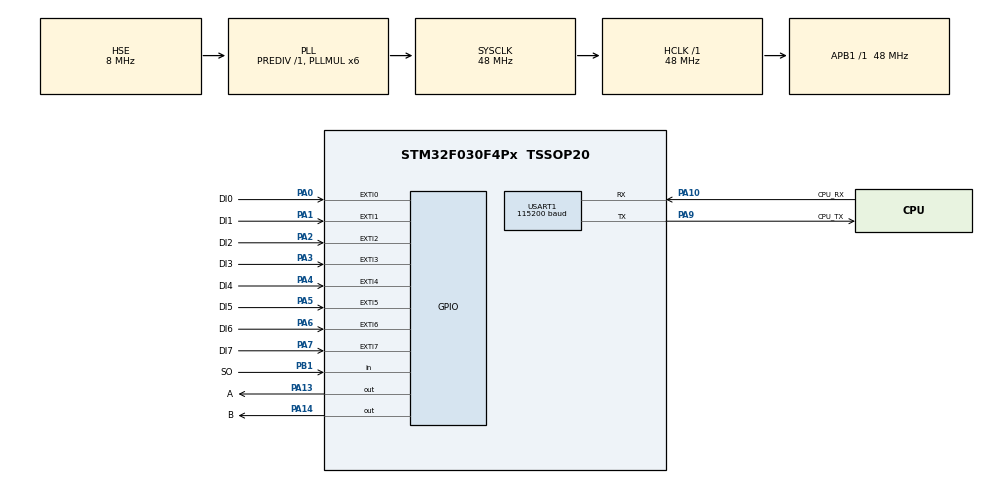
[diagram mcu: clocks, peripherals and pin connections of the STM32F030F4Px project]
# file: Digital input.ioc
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Dma.Request0=USART1_TX
Dma.Request1=USART1_RX
Dma.USART1_RX.1.Direction=DMA_PERIPH_TO_MEMORY
Dma.USART1_RX.1.Instance=DMA1_Channel3
Dma.USART1_RX.1.MemDataAlignment=DMA_MDATAALIGN_BYTE
Dma.USART1_RX.1.MemInc=DMA_MINC_ENABLE
Dma.USART1_RX.1.Mode=DMA_NORMAL
Dma.USART1_RX.1.PeriphDataAlignment=DMA_PDATAALIGN_BYTE
Dma.USART1_RX.1.PeriphInc=DMA_PINC_DISABLE
Dma.USART1_RX.1.Priority=DMA_PRIORITY_HIGH
Dma.USART1_TX.0.Direction=DMA_MEMORY_TO_PERIPH
Dma.USART1_TX.0.Instance=DMA1_Channel2
Dma.USART1_TX.0.MemDataAlignment=DMA_MDATAALIGN_BYTE
Dma.USART1_TX.0.MemInc=DMA_MINC_ENABLE
Dma.USART1_TX.0.Mode=DMA_NORMAL
Dma.USART1_TX.0.PeriphDataAlignment=DMA_PDATAALIGN_BYTE
Dma.USART1_TX.0.PeriphInc=DMA_PINC_DISABLE
Dma.USART1_TX.0.Priority=DMA_PRIORITY_MEDIUM
Mcu.Family=STM32F0
Mcu.Name=STM32F030F4Px
Mcu.Package=TSSOP20
NVIC.DMA1_Channel2_3_IRQn=true\:0\:0\:false\:false\:true\:false\:true\:true
NVIC.EXTI0_1_IRQn=true\:1\:0\:true\:false\:true\:true\:true\:true
NVIC.EXTI2_3_IRQn=true\:1\:0\:true\:false\:true\:true\:true\:true
NVIC.EXTI4_15_IRQn=true\:1\:0\:true\:false\:true\:true\:true\:true
NVIC.TIM1_BRK_UP_TRG_COM_IRQn=true\:0\:0\:false\:false\:true\:true\:true\:true
NVIC.USART1_IRQn=true\:0\:0\:false\:false\:true\:true\:true\:true
PA0.GPIO_Label=DI0
PA0.GPIO_ModeDefaultEXTI=GPIO_MODE_IT_FALLING
PA0.Signal=GPXTI0
PA1.GPIO_Label=DI1
PA1.GPIO_ModeDefaultEXTI=GPIO_MODE_IT_FALLING
PA1.Signal=GPXTI1
PA10.GPIO_FMA10=__NULL
PA10.GPIO_Label=CPU_RX
PA10.GPIO_ModeDefaultOD=GPIO_MODE_AF_PP
PA10.GPIO_PuPdOD=GPIO_NOPULL
PA10.Mode=Multiprocessor_communication
PA10.Signal=USART1_RX
PA13.GPIO_Label=A
PA13.GPIO_PuPd=GPIO_PULLUP
PA13.GPIO_Speed=GPIO_SPEED_FREQ_HIGH
PA13.PinState=GPIO_PIN_SET
PA13.Signal=GPIO_Output
PA14.GPIO_Label=B
PA14.GPIO_PuPd=GPIO_PULLUP
PA14.GPIO_Speed=GPIO_SPEED_FREQ_HIGH
PA14.PinState=GPIO_PIN_SET
PA14.Signal=GPIO_Output
PA2.GPIO_Label=DI2
PA2.GPIO_ModeDefaultEXTI=GPIO_MODE_IT_FALLING
PA2.Signal=GPXTI2
PA3.GPIO_Label=DI3
PA3.GPIO_ModeDefaultEXTI=GPIO_MODE_IT_FALLING
PA3.Signal=GPXTI3
PA4.GPIO_Label=DI4
PA4.GPIO_ModeDefaultEXTI=GPIO_MODE_IT_FALLING
PA4.Signal=GPXTI4
PA5.GPIO_Label=DI5
PA5.GPIO_ModeDefaultEXTI=GPIO_MODE_IT_FALLING
PA5.Signal=GPXTI5
PA6.GPIO_Label=DI6
PA6.GPIO_ModeDefaultEXTI=GPIO_MODE_IT_FALLING
PA6.Signal=GPXTI6
PA7.GPIO_Label=DI7
PA7.GPIO_ModeDefaultEXTI=GPIO_MODE_IT_FALLING
PA7.Signal=GPXTI7
PA9.GPIO_FMA9=__NULL
PA9.GPIO_Label=CPU_TX
PA9.GPIO_ModeDefaultOD=GPIO_MODE_AF_PP
PA9.GPIO_PuPdOD=GPIO_NOPULL
PA9.Mode=Multiprocessor_communication
PA9.Signal=USART1_TX
PB1.GPIO_Label=SO
PB1.GPIO_PuPd=GPIO_PULLUP
PB1.Signal=GPIO_Input
PF0-OSC_IN.Mode=HSE-External-Oscillator
PF0-OSC_IN.Signal=RCC_OSC_IN
PF1-OSC_OUT.Mode=HSE-External-Oscillator
PF1-OSC_OUT.Signal=RCC_OSC_OUT
ProjectManager.HeapSize=0x200
ProjectManager.StackSize=0x400
ProjectManager.TargetToolchain=MDK-ARM V5.27
RCC.AHBFreq_Value=48000000
RCC.APB1Freq_Value=48000000
RCC.APB1TimFreq_Value=48000000
RCC.FLatency=FLASH_LATENCY_1
RCC.HCLKFreq_Value=48000000
RCC.PLLMUL=RCC_PLL_MUL6
RCC.PLLSourceVirtual=RCC_PLLSOURCE_HSE
RCC.SYSCLKFreq_VALUE=48000000
RCC.SYSCLKSource=RCC_SYSCLKSOURCE_PLLCLK
TIM1.AutoReloadPreload=TIM_AUTORELOAD_PRELOAD_ENABLE
TIM1.ClockDivision=TIM_CLOCKDIVISION_DIV1
TIM1.CounterMode=TIM_COUNTERMODE_UP
TIM1.Period=1000
TIM1.Prescaler=48-1
TIM1.RepetitionCounter=0
TIM1.TIM_MasterOutputTrigger=TIM_TRGO_RESET
TIM1.TIM_MasterSlaveMode=TIM_MASTERSLAVEMODE_DISABLE
USART1.AutoBaudRateEnableParam=UART_ADVFEATURE_AUTOBAUDRATE_DISABLE
USART1.BaudRate=115200
USART1.VirtualMode-Multiprocessor_communication=VM_ASYNC
VP_TIM1_VS_ClockSourceINT.Mode=Internal
board=custom

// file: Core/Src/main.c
/* USER CODE BEGIN Header */
/**
 ******************************************************************************
 * @file           : main.c
 * @brief          : Main program body
 ******************************************************************************
 * @attention
 *
 * <h2><center>&copy; Copyright (c) 2022 STMicroelectronics.
 * All rights reserved.</center></h2>
 *
 * This software component is licensed by ST under BSD 3-Clause license,
 * the "License"; You may not use this file except in compliance with the
 * License. You may obtain a copy of the License at:
 *                        opensource.org/licenses/BSD-3-Clause
 *
 ******************************************************************************
 */
/* USER CODE END Header */
#include "main.h"
#include "dma.h"
#include "tim.h"
#include "usart.h"
#include "gpio.h"

/* USER CODE BEGIN Includes */
#include "tool.h"
#include "Modbus.h"
#include "io_signal.h"
/* USER CODE END Includes */

/* USER CODE BEGIN PTD */
typedef enum
{
  irq_start,
  irq_continue,
  irq_end,
} irq_state;

typedef struct
{
  irq_state status : 7;
  IRQ_Type irq : 1;
  uint8_t first_flag : 1;
  uint16_t counter;
} irq_sm_handle;

irq_sm_handle irq_sm;

void TIRQ_Handle(void *arg)
{
#define IRQ_BASE_TIMES (200U)
#define IRQ_OFFSET_TIMES (2U)
#define IRQ_LOW_TIMES (1U)
  /*Interrupt signal generation*/
  pModbusHandle pd = Modbus_Object;
  SoftTimer *pt = (SoftTimer *)arg;
  irq_sm_handle *const psm = &irq_sm;

  if (NULL == pd->Slave.pHandle ||
      NULL == pt)
    return;

  /*The board model is read or the corresponding interrupt processing request is responded*/
  // if (*(bool *)pd->Slave.pHandle)
  // {
  //   irq = DisEnable;
  // }
  // else
  // {
  //   irq ^= DisEnable;
  // }

  psm->status = *(bool *)pd->Slave.pHandle
                    ? irq_end
                : psm->first_flag
                    ? psm->status
                    : irq_start;

  switch (psm->status)
  {
  case irq_start:
  {
    psm->irq = Enable;
    psm->counter = IRQ_LOW_TIMES;
    psm->first_flag = true;
    psm->status = irq_continue;
  }
  break;
  case irq_continue:
  {
    psm->irq = DisEnable;
    psm->counter = IRQ_BASE_TIMES;
    psm->status = irq_start;
  }
  break;
  case irq_end:
  {
    psm->first_flag = false;
    psm->irq = DisEnable;
  }
  break;
  }
  pt->target_counter = psm->counter;
  IRQ_Handle(psm->irq);
}

static void Debug_Handle(void *arg)
{
#if defined(USING_DEBUG)
  HAL_UART_Transmit_DMA(&huart1, "Hello word!\r\n", 14);
  while (__HAL_UART_GET_FLAG(&huart1, UART_FLAG_TC) == RESET)
  {
  }
#endif
}

SoftTimer timer_map[] = {
    {.run_flag = true, .enable = true, .execute_flag = false, .event = TIRQ_Handle, .target_counter = 100U},
    {.run_flag = false, .enable = true, .execute_flag = false, .event = Modbus_Handle, .target_counter = 1U},
    {.run_flag = false, .enable = true, .arg = &dix, .event = Read_Digital_Io, .target_counter = 50U},
    {.run_flag = false, .enable = false, .execute_flag = false, .event = Debug_Handle, .target_counter = 1000U},
};
Timer_HandleTypeDef stimer = {
    .pmap = timer_map,
    .numbers = sizeof(timer_map) / sizeof(SoftTimer),
};
/* USER CODE END PTD */

void SystemClock_Config(void);

/* USER CODE BEGIN 0 */
/**
 * @brief This function is called to increment  a global variable "uwTick"
 *        used as application time base.
 * @note In the default implementation, this variable is incremented each 1ms
 *       in SysTick ISR.
 * @note This function is declared as __weak to be overwritten in case of other
 *      implementations in user file.
 * @retval None
 */
void HAL_IncTick(void)
{
  uwTick += uwTickFreq;
  di_timeout_check(&dix);
}
/* USER CODE END 0 */

int main(void)
{

  /* MCU Configuration--------------------------------------------------------*/

  /* Reset of all peripherals, Initializes the Flash interface and the Systick. */
  HAL_Init();

  /* USER CODE BEGIN Init */
  //  HAL_Delay(5000);
  /* USER CODE END Init */

  /* Configure the system clock */
  SystemClock_Config();

  /* Initialize all configured peripherals */
  MX_GPIO_Init();
  MX_DMA_Init();
  MX_USART1_UART_Init();
  MX_TIM1_Init();
  /* USER CODE BEGIN 2 */
  ptimer = &stimer;
  MX_ModbusInit();
  if (Modbus_Object)
  {
    __HAL_UART_ENABLE_IT(Modbus_Object->huart, UART_IT_IDLE);
    /*DMA buffer must point to an entity address!!!*/
    HAL_UART_Receive_DMA(Modbus_Object->huart, Modbus_Object->Slave.pRbuf, Modbus_Object->Slave.RxSize);
    Modbus_Object->Slave.RxCount = 0U;
    ptimer->pmap[0].arg = &ptimer->pmap[0];
    ptimer->pmap[0].target_counter = Modbus_Object->Slave_Id
                                         ? IRQ_BASE_TIMES + (Modbus_Object->Slave_Id * IRQ_OFFSET_TIMES)
                                         : IRQ_BASE_TIMES;
  }
  /* Enable receive error interrupt */
  __HAL_UART_ENABLE_IT(&huart1, UART_IT_ERR);
  /*Wait for the main cpu to start*/
  HAL_Delay(1000);
  HAL_TIM_Base_Start_IT(&htim1);
  /* USER CODE END 2 */

  /* Infinite loop */
  while (1)
  {

    /* USER CODE BEGIN 3 */
    Timer_Handle();
  }
  /* USER CODE END 3 */
}

void SystemClock_Config(void)
{
  RCC_OscInitTypeDef RCC_OscInitStruct = {0};
  RCC_ClkInitTypeDef RCC_ClkInitStruct = {0};
  RCC_PeriphCLKInitTypeDef PeriphClkInit = {0};

  /** Initializes the RCC Oscillators according to the specified parameters
  * in the RCC_OscInitTypeDef structure.
  */
  RCC_OscInitStruct.OscillatorType = RCC_OSCILLATORTYPE_HSE;
  RCC_OscInitStruct.HSEState = RCC_HSE_ON;
  RCC_OscInitStruct.PLL.PLLState = RCC_PLL_ON;
  RCC_OscInitStruct.PLL.PLLSource = RCC_PLLSOURCE_HSE;
  RCC_OscInitStruct.PLL.PLLMUL = RCC_PLL_MUL6;
  RCC_OscInitStruct.PLL.PREDIV = RCC_PREDIV_DIV1;
  if (HAL_RCC_OscConfig(&RCC_OscInitStruct) != HAL_OK)
  {
    Error_Handler();
  }

  /** Initializes the CPU, AHB and APB buses clocks
  */
  RCC_ClkInitStruct.ClockType = RCC_CLOCKTYPE_HCLK|RCC_CLOCKTYPE_SYSCLK
                              |RCC_CLOCKTYPE_PCLK1;
  RCC_ClkInitStruct.SYSCLKSource = RCC_SYSCLKSOURCE_PLLCLK;
  RCC_ClkInitStruct.AHBCLKDivider = RCC_SYSCLK_DIV1;
  RCC_ClkInitStruct.APB1CLKDivider = RCC_HCLK_DIV1;

  if (HAL_RCC_ClockConfig(&RCC_ClkInitStruct, FLASH_LATENCY_1) != HAL_OK)
  {
    Error_Handler();
  }
  PeriphClkInit.PeriphClockSelection = RCC_PERIPHCLK_USART1;
  PeriphClkInit.Usart1ClockSelection = RCC_USART1CLKSOURCE_PCLK1;
  if (HAL_RCCEx_PeriphCLKConfig(&PeriphClkInit) != HAL_OK)
  {
    Error_Handler();
  }
}

/* USER CODE BEGIN 4 */
/* Interrupt error handling function */
/*https://blog.csdn.net/mickey35/article/details/78529637*/
void HAL_UART_ErrorCallback(UART_HandleTypeDef *huart)
{
  // pModbusHandle pd = Modbus_Object;

  // // uint16_t data;
  // // if (huart == &huart1)
  // // {
  // //   HAL_NVIC_DisableIRQ(USART1_IRQn);
  // // }
  // if (__HAL_UART_GET_FLAG(huart, UART_FLAG_ORE) != RESET)
  // {
  //   __HAL_UART_CLEAR_OREFLAG(huart);
  //   // (void)huart->Instance->RDR;
  //   // HAL_UART_Receive_IT(huart, (uint8_t *)&data, 1);
  //   /*Reopen DMA reception*/
  //   if (pd)
  //     HAL_UART_Receive_DMA(pd->huart, pd->Slave.pRbuf, pd->Slave.RxSize);
  // }
  // if (__HAL_UART_GET_FLAG(huart, UART_FLAG_FE) != RESET)
  // {
  //   __HAL_UART_CLEAR_FEFLAG(huart);
  // }
  // if (__HAL_UART_GET_FLAG(huart, UART_FLAG_CMF) != RESET)
  // {
  //   __HAL_UART_CLEAR_FLAG(huart, UART_FLAG_CMF);
  // }
  // if (__HAL_UART_GET_FLAG(huart, UART_FLAG_RXNE) != RESET)
  // {
  //   __HAL_UART_CLEAR_FLAG(huart, UART_FLAG_RXNE);
  // }
  MX_USART1_UART_Init();
  // huart->ErrorCode = 0;
  // if (huart == &huart1)
  // {
  //   HAL_NVIC_EnableIRQ(USART1_IRQn);
  // }

  // __HAL_UART_CLEAR_FLAG(huart, UART_FLAG_ORE | UART_FLAG_FE | UART_FLAG_CMF);
  // HAL_Delay(1);

  // __HAL_UART_CLEAR_FLAG(huart, UART_CLEAR_PEF | UART_CLEAR_FEF |
  //                                  UART_CLEAR_NEF | UART_CLEAR_OREF | UART_CLEAR_IDLEF | UART_CLEAR_TCF |
  //                                  UART_CLEAR_RTOF | UART_CLEAR_CTSF | UART_CLEAR_CMF);
}
/* USER CODE END 4 */

void Error_Handler(void)
{
  __disable_irq();
  while (1)
  {
  }
}
